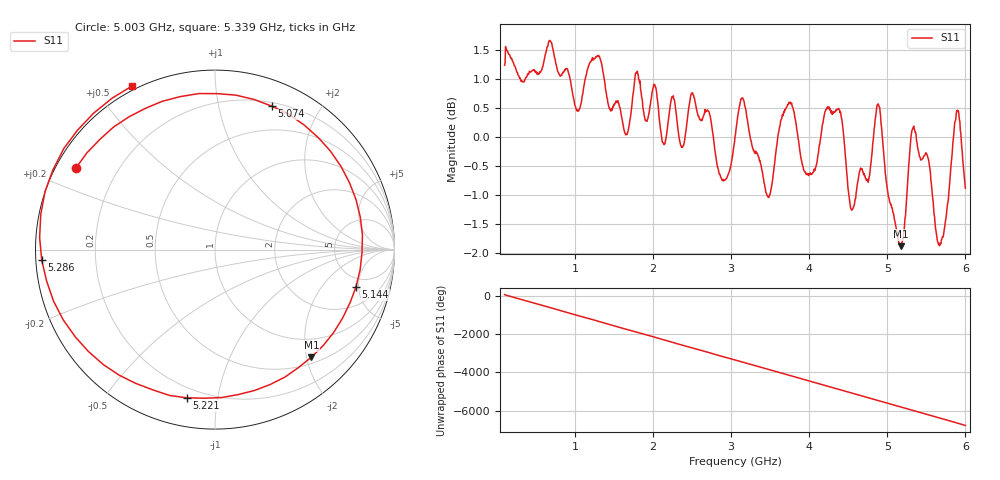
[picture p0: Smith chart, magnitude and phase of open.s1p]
# Hz S DB R 50
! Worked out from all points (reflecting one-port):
!   1001 points, 100 MHz to 6 GHz, reference 50 ohm
!   lowest |S11| = -1.9 dB at 5.174 GHz (marker M1), VSWR 9.25, Z = 30.7 - j104 ohm
!   phase of S11 starts at 74 deg and turns -6852 deg over the sweep
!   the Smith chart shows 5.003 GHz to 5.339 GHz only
!   S11 on the Smith chart (normalised r, x): 5.003 GHz: 0.06, +0.27; 5.074 GHz: 0.24, +1.45; 5.144 GHz: 3.81, -4.66; 5.221 GHz: 0.15, -0.82; 5.286 GHz: 0.02, -0.03; 5.339 GHz: -0.01, +0.61
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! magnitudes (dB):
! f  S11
! 100 MHz  1.2
! 837.5 MHz  1.1
! 1.044 GHz  0.4
! 1.298 GHz  1.4
! 1.575 GHz  0.5
! 1.793 GHz  1.1
! 2.312 GHz  0.2
! 2.696 GHz  0.5
! 2.902 GHz  -0.8
! 3.05 GHz  0.0
! 3.156 GHz  0.6
! 3.481 GHz  -1.0
! 3.788 GHz  0.5
! 4 GHz  -0.6
! 4.383 GHz  0.5
! 4.525 GHz  -1.2
! 4.879 GHz  0.6
! 5.003 GHz  -0.9
! 5.074 GHz  -1.3
! 5.144 GHz  -1.8
! 5.174 GHz  -1.9
! 5.221 GHz  -1.5
! 5.263 GHz  -0.7
! 5.286 GHz  -0.3
! 5.339 GHz  0.2
! 5.664 GHz  -1.8
! 5.888 GHz  0.4
! 6 GHz  -0.9
